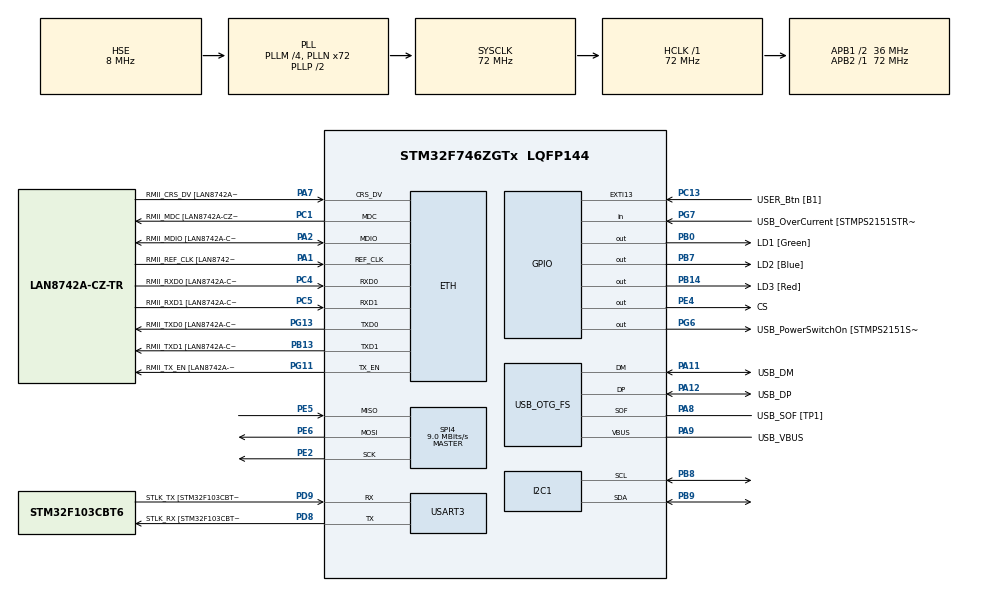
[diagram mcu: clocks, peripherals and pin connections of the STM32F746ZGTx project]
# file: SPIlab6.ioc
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ETH.MediaInterface=HAL_ETH_RMII_MODE
ETH.PHY_Name=LAN8742A_PHY_ADDRESS
ETH.PHY_Value=0
ETH.PhyAddress=0
I2C1.Timing=0x00808CD2
Mcu.Family=STM32F7
Mcu.Name=STM32F746ZGTx
Mcu.Package=LQFP144
NVIC.PriorityGroup=NVIC_PRIORITYGROUP_4
NVIC.SPI4_IRQn=true\:0\:0\:false\:false\:true\:true\:true\:true
PA1.GPIO_Label=RMII_REF_CLK [LAN8742A-CZ-TR_REFCLK0]
PA1.Mode=RMII
PA1.Signal=ETH_REF_CLK
PA10.GPIO_Label=USB_ID
PA10.Signal=USB_OTG_FS_ID
PA11.GPIO_Label=USB_DM
PA11.Mode=Device_Only
PA11.Signal=USB_OTG_FS_DM
PA12.GPIO_Label=USB_DP
PA12.Mode=Device_Only
PA12.Signal=USB_OTG_FS_DP
PA13.GPIO_Label=TMS
PA13.Mode=Serial_Wire
PA13.Signal=SYS_JTMS-SWDIO
PA14.GPIO_Label=TCK
PA14.Mode=Serial_Wire
PA14.Signal=SYS_JTCK-SWCLK
PA2.GPIO_Label=RMII_MDIO [LAN8742A-CZ-TR_MDIO]
PA2.Mode=RMII
PA2.Signal=ETH_MDIO
PA7.GPIO_Label=RMII_CRS_DV [LAN8742A-CZ-TR_CRS_DV]
PA7.Mode=RMII
PA7.Signal=ETH_CRS_DV
PA8.GPIO_Label=USB_SOF [TP1]
PA8.Mode=Activate_SOF_FS
PA8.Signal=USB_OTG_FS_SOF
PA9.GPIO_Label=USB_VBUS
PA9.Mode=Activate_VBUS
PA9.Signal=USB_OTG_FS_VBUS
PB0.GPIO_Label=LD1 [Green]
PB0.Signal=GPIO_Output
PB13.GPIO_Label=RMII_TXD1 [LAN8742A-CZ-TR_TXD1]
PB13.Mode=RMII
PB13.Signal=ETH_TXD1
PB14.GPIO_Label=LD3 [Red]
PB14.Signal=GPIO_Output
PB3.GPIO_Label=SW0
PB3.Signal=SYS_JTDO-SWO
PB7.GPIO_Label=LD2 [Blue]
PB7.Signal=GPIO_Output
PB8.Mode=I2C
PB8.Signal=I2C1_SCL
PB9.Mode=I2C
PB9.Signal=I2C1_SDA
PC1.GPIO_Label=RMII_MDC [LAN8742A-CZ-TR_MDC]
PC1.Mode=RMII
PC1.Signal=ETH_MDC
PC13.GPIO_Label=USER_Btn [B1]
PC13.Signal=GPXTI13
PC14/OSC32_IN.Mode=LSE-External-Oscillator
PC14/OSC32_IN.Signal=RCC_OSC32_IN
PC15/OSC32_OUT.Mode=LSE-External-Oscillator
PC15/OSC32_OUT.Signal=RCC_OSC32_OUT
PC4.GPIO_Label=RMII_RXD0 [LAN8742A-CZ-TR_RXD0]
PC4.Mode=RMII
PC4.Signal=ETH_RXD0
PC5.GPIO_Label=RMII_RXD1 [LAN8742A-CZ-TR_RXD1]
PC5.Mode=RMII
PC5.Signal=ETH_RXD1
PD8.GPIO_Label=STLK_RX [STM32F103CBT6_PA3]
PD8.GPIO_PuPd=GPIO_PULLUP
PD8.Mode=Asynchronous
PD8.Signal=USART3_TX
PD9.GPIO_Label=STLK_TX [STM32F103CBT6_PA2]
PD9.GPIO_PuPd=GPIO_PULLUP
PD9.Mode=Asynchronous
PD9.Signal=USART3_RX
PE2.Mode=Full_Duplex_Master
PE2.Signal=SPI4_SCK
PE4.GPIO_Label=CS
PE4.Signal=GPIO_Output
PE5.Mode=Full_Duplex_Master
PE5.Signal=SPI4_MISO
PE6.Mode=Full_Duplex_Master
PE6.Signal=SPI4_MOSI
PG11.GPIO_Label=RMII_TX_EN [LAN8742A-CZ-TR_TXEN]
PG11.Mode=RMII
PG11.Signal=ETH_TX_EN
PG13.GPIO_Label=RMII_TXD0 [LAN8742A-CZ-TR_TXD0]
PG13.Mode=RMII
PG13.Signal=ETH_TXD0
PG6.GPIO_Label=USB_PowerSwitchOn [STMPS2151STR_EN]
PG6.Signal=GPIO_Output
PG7.GPIO_Label=USB_OverCurrent [STMPS2151STR_FAULT]
PG7.Signal=GPIO_Input
PH0/OSC_IN.GPIO_Label=MCO [STM32F103CBT6_PA8]
PH0/OSC_IN.Mode=HSE-External-Clock-Source
PH0/OSC_IN.Signal=RCC_OSC_IN
PH1/OSC_OUT.Mode=HSE-External-Clock-Source
PH1/OSC_OUT.Signal=RCC_OSC_OUT
ProjectManager.HeapSize=0x200
ProjectManager.StackSize=0x400
ProjectManager.TargetToolchain=STM32CubeIDE
RCC.48MHZClocksFreq_Value=24000000
RCC.AHBFreq_Value=72000000
RCC.APB1CLKDivider=RCC_HCLK_DIV2
RCC.APB1Freq_Value=36000000
RCC.APB1TimFreq_Value=72000000
RCC.APB2Freq_Value=72000000
RCC.APB2TimFreq_Value=72000000
RCC.CortexFreq_Value=72000000
RCC.HCLKFreq_Value=72000000
RCC.HSE_VALUE=8000000
RCC.HSI_VALUE=16000000
RCC.PLLM=4
RCC.PLLMUL=RCC_PLL_MUL9
RCC.PLLN=72
RCC.PLLQ=3
RCC.PRESCALERUSB=RCC_USBCLKSOURCE_PLL_DIV1_5
RCC.SYSCLKFreq_VALUE=72000000
RCC.SYSCLKSource=RCC_SYSCLKSOURCE_PLLCLK
RCC.SYSCLKSourceVirtual=RCC_SYSCLKSOURCE_PLLCLK
RCC.USBFreq_Value=48000000
RCC.VCOOutputFreq_Value=144000000
SPI4.BaudRatePrescaler=SPI_BAUDRATEPRESCALER_8
SPI4.CLKPhase=SPI_PHASE_2EDGE
SPI4.CLKPolarity=SPI_POLARITY_HIGH
SPI4.CalculateBaudRate=9.0 MBits/s
SPI4.DataSize=SPI_DATASIZE_8BIT
SPI4.Direction=SPI_DIRECTION_2LINES
SPI4.Mode=SPI_MODE_MASTER
SPI4.VirtualType=VM_MASTER
USART3.VirtualMode-Asynchronous=VM_ASYNC
USB_OTG_FS.VirtualMode=Device_Only
board=NUCLEO-F746ZG

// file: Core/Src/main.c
/* USER CODE BEGIN Header */
/**
  ******************************************************************************
  * @file           : main.c
  * @brief          : Main program body
  ******************************************************************************
  * @attention
  *
  * Copyright (c) 2025 STMicroelectronics.
  * All rights reserved.
  *
  * This software is licensed under terms that can be found in the LICENSE file
  * in the root directory of this software component.
  * If no LICENSE file comes with this software, it is provided AS-IS.
  *
  ******************************************************************************
  */
/* USER CODE END Header */
#include "main.h"
#include "eth.h"
#include "i2c.h"
#include "spi.h"
#include "usart.h"
#include "usb_otg.h"
#include "gpio.h"

/* USER CODE BEGIN Includes */
#include <string.h>
#include <stdio.h>

/* USER CODE END Includes */

/* USER CODE BEGIN PD */
#define BMP2_SPI_BUFFER_LEN 28 //! @see BMP280 technical note p. 24 //do sensora z instrukcji lab
#define BMP2_DATA_INDEX 1 //! @see BMP280 technical note p. 31-32
#define BMP2_REG_ADDR_INDEX 0 //! @see BMP280 technical note p. 31-32
#define BMP2_REG_ADDR_LEN 1 //! @see BMP280 technical note p. 31-32 //do sensora z instrukcji lab

#define BMP_CS_PORT CS_GPIO_Port //do pinu cs
#define BMP_CS_PIN  CS_Pin

#define CS_LOW()  HAL_GPIO_WritePin(BMP_CS_PORT, BMP_CS_PIN, GPIO_PIN_RESET)
#define CS_HIGH() HAL_GPIO_WritePin(BMP_CS_PORT, BMP_CS_PIN, GPIO_PIN_SET) //do pinu cs

#define BMP2_INTF_RET_TYPE int8_t//dofcji z pomocą czatu gpt
#define BMP2_INTF_RET_SUCCESS 0
#define BMP2_SPI &hspi4
#define BMP2_TIMEOUT 100
#define BMP2_NUM_OF_SENSORS 1

/* USER CODE END PD */

/* USER CODE BEGIN PV */
uint8_t cs_index = 0;//do fcji z instrukcji bmp2_spi_read/write
int32_t t_fine; //z fcji czujnika

uint16_t dig_T1;   // bezznakowy
int16_t  dig_T2;   // ze znakiem
int16_t  dig_T3;   // ze znakiem

/* USER CODE END PV */

void SystemClock_Config(void);
/* USER CODE BEGIN PFP */

// Returns temperature in DegC, resolution is 0.01 DegC. Output value of “5123” equals 51.23 DegC.  //z dokumentacji czujnika
// t_fine carries fine temperature as global value

int32_t bmp280_compensate_T(int32_t adc_T)
{
    int32_t var1, var2, T;

    var1 = ((((adc_T >> 3) - ((int32_t)dig_T1 << 1))) * ((int32_t)dig_T2)) >> 11;
    var2 = (((((adc_T >> 4) - ((int32_t)dig_T1)) * ((adc_T >> 4) - ((int32_t)dig_T1))) >> 12) *
            ((int32_t)dig_T3)) >> 14;

    t_fine = var1 + var2;

    T = (t_fine * 5 + 128) >> 8;   // wynik w 0.01°C
    return T;
}

/*!
 * @brief Function for reading the sensor's registers through SPI bus.
 *
 * @param[in] reg_addr : Register address.
 * @param[out] reg_data : Pointer to the data buffer to store the read data.
 * @param[in] length : No of bytes to read.
 * @param[in] intf_ptr : Interface pointer
 *
 * @return Status of execution
 *
 * @retval BMP2_INTF_RET_SUCCESS-> Success.
 * @retval != BMP2_INTF_RET_SUCCESS-> Failure.
 *
 */
BMP2_INTF_RET_TYPE bmp2_spi_read(uint8_t reg_addr, uint8_t *reg_data, uint32_t length, void *intf_ptr)
{
    /* Implement the SPI read routine according to the target machine. */
    HAL_StatusTypeDef status = HAL_OK;
    int8_t iError = BMP2_INTF_RET_SUCCESS;
    uint8_t cs = *(uint8_t*)intf_ptr;

    /* Software slave selection procedure */
    HAL_GPIO_WritePin(BMP_CS_PORT, BMP_CS_PIN, GPIO_PIN_RESET);

    /* Data exchange */
    status = HAL_SPI_Transmit(BMP2_SPI, &reg_addr, BMP2_REG_ADDR_LEN, BMP2_TIMEOUT);
    status += HAL_SPI_Receive(BMP2_SPI, reg_data, length, BMP2_TIMEOUT);

    /* Disable all slaves */
    for(uint8_t i = 0; i < BMP2_NUM_OF_SENSORS; i++)
        HAL_GPIO_WritePin(BMP_CS_PORT, BMP_CS_PIN, GPIO_PIN_SET);

#ifdef DEBUG
    uint8_t data[BMP2_SPI_BUFFER_LEN] = {0,};
    memcpy(data, reg_data, length);
#endif

    // The BMP2xx API calls for 0 return value as a success, and -1 returned as failure
    if (status != HAL_OK)
        iError = -1;

    return iError;
}

/*!
 * @brief Function for writing the sensor's registers through SPI bus.
 *
 * @param[in] reg_addr : Register address.
 * @param[in] reg_data : Pointer to the data buffer whose data has to be written.
 * @param[in] length : No of bytes to write.
 * @param[in] intf_ptr : Interface pointer
 *
 * @return Status of execution
 *
 * @retval BMP2_INTF_RET_SUCCESS-> Success.
 * @retval != BMP2_INTF_RET_SUCCESS-> Failure.
 *
 */
BMP2_INTF_RET_TYPE bmp2_spi_write(uint8_t reg_addr, const uint8_t *reg_data, uint32_t length, void *intf_ptr)
{
    /* Implement the SPI write routine according to the target machine. */
    HAL_StatusTypeDef status = HAL_OK;
    int8_t iError = BMP2_INTF_RET_SUCCESS;
    uint8_t cs = *(uint8_t*)intf_ptr;

#ifdef DEBUG
    uint8_t data[BMP2_SPI_BUFFER_LEN] = {0,};
    memcpy(data, reg_data, length);
#endif

    /* Software slave selection procedure */
    HAL_GPIO_WritePin(BMP_CS_PORT, BMP_CS_PIN, GPIO_PIN_RESET);

    /* Data exchange */
    status = HAL_SPI_Transmit(BMP2_SPI, &reg_addr, BMP2_REG_ADDR_LEN, BMP2_TIMEOUT);
    status += HAL_SPI_Transmit(BMP2_SPI, reg_data, length, BMP2_TIMEOUT);

    /* Disable all slaves */
    for(uint8_t i = 0; i < BMP2_NUM_OF_SENSORS; i++)
        HAL_GPIO_WritePin(BMP_CS_PORT, BMP_CS_PIN, GPIO_PIN_SET);

    // The BMP2xx API calls for 0 return value as a success, and -1 returned as failure
    if (status != HAL_OK)
        iError = -1;

    return iError;
}

/* USER CODE END PFP */

int main(void)
{

  /* MCU Configuration--------------------------------------------------------*/

  /* Reset of all peripherals, Initializes the Flash interface and the Systick. */
  HAL_Init();

  /* Configure the system clock */
  SystemClock_Config();

  /* Initialize all configured peripherals */
  MX_GPIO_Init();
  MX_ETH_Init();
  MX_I2C1_Init();
  MX_USART3_UART_Init();
  MX_USB_OTG_FS_PCD_Init();
  MX_SPI4_Init();
  /* USER CODE BEGIN 2 */
  uint8_t calib_data[6];
  bmp2_spi_read(0x88, calib_data, 6, &cs_index);

  dig_T1 = (uint16_t)(calib_data[1] << 8 | calib_data[0]);
  dig_T2 = (int16_t)(calib_data[3] << 8 | calib_data[2]);
  dig_T3 = (int16_t)(calib_data[5] << 8 | calib_data[4]);

  char msg2[64];
  snprintf(msg2, sizeof(msg2), "T1=%u  T2=%d  T3=%d\r\n", dig_T1, dig_T2, dig_T3);
  HAL_UART_Transmit(&huart3, (uint8_t*)msg2, strlen(msg2), HAL_MAX_DELAY);

  uint8_t ctrl_meas = 0x27; // np. normal mode, temp oversampling x1
  bmp2_spi_write(0xF4, &ctrl_meas, 1, &cs_index);

  uint8_t temp_data[3];
  /* USER CODE END 2 */

  /* Infinite loop */
  while (1)
  {

    /* USER CODE BEGIN 3 */
	    // Odczyt 3 bajtów temperatury z rejestrów 0xFA, 0xFB, 0xFC
	    bmp2_spi_read(0xFA, temp_data, 3, &cs_index);

	    // Sklejanie bajtów w 20-bitową wartość adc_T
	    int32_t adc_T = ((int32_t)temp_data[0] << 12) |
	                    ((int32_t)temp_data[1] << 4) |
	                    ((temp_data[2] >> 4) & 0x0F);

	    // Obliczenie temperatury w setnych stopniach C (0.01°C)
	    int32_t T = bmp280_compensate_T(adc_T);

	    // Konwersja na float w °C i zapis do bufora ASCII
	    char msg[32];
	    //snprintf(msg, sizeof(msg), "Temp: %.2f C\r\n", T / 100.0f);

	    // Wysłanie przez UART3
	    HAL_UART_Transmit(&huart3, (uint8_t*)msg, strlen(msg), HAL_MAX_DELAY);

	    // Opcjonalne opóźnienie 1 s
	    HAL_Delay(1000);
  }
  /* USER CODE END 3 */
}

void SystemClock_Config(void)
{
  RCC_OscInitTypeDef RCC_OscInitStruct = {0};
  RCC_ClkInitTypeDef RCC_ClkInitStruct = {0};

  /** Configure LSE Drive Capability
  */
  HAL_PWR_EnableBkUpAccess();

  /** Configure the main internal regulator output voltage
  */
  __HAL_RCC_PWR_CLK_ENABLE();
  __HAL_PWR_VOLTAGESCALING_CONFIG(PWR_REGULATOR_VOLTAGE_SCALE3);

  /** Initializes the RCC Oscillators according to the specified parameters
  * in the RCC_OscInitTypeDef structure.
  */
  RCC_OscInitStruct.OscillatorType = RCC_OSCILLATORTYPE_HSE;
  RCC_OscInitStruct.HSEState = RCC_HSE_BYPASS;
  RCC_OscInitStruct.PLL.PLLState = RCC_PLL_ON;
  RCC_OscInitStruct.PLL.PLLSource = RCC_PLLSOURCE_HSE;
  RCC_OscInitStruct.PLL.PLLM = 4;
  RCC_OscInitStruct.PLL.PLLN = 72;
  RCC_OscInitStruct.PLL.PLLP = RCC_PLLP_DIV2;
  RCC_OscInitStruct.PLL.PLLQ = 3;
  if (HAL_RCC_OscConfig(&RCC_OscInitStruct) != HAL_OK)
  {
    Error_Handler();
  }

  /** Initializes the CPU, AHB and APB buses clocks
  */
  RCC_ClkInitStruct.ClockType = RCC_CLOCKTYPE_HCLK|RCC_CLOCKTYPE_SYSCLK
                              |RCC_CLOCKTYPE_PCLK1|RCC_CLOCKTYPE_PCLK2;
  RCC_ClkInitStruct.SYSCLKSource = RCC_SYSCLKSOURCE_PLLCLK;
  RCC_ClkInitStruct.AHBCLKDivider = RCC_SYSCLK_DIV1;
  RCC_ClkInitStruct.APB1CLKDivider = RCC_HCLK_DIV2;
  RCC_ClkInitStruct.APB2CLKDivider = RCC_HCLK_DIV1;

  if (HAL_RCC_ClockConfig(&RCC_ClkInitStruct, FLASH_LATENCY_2) != HAL_OK)
  {
    Error_Handler();
  }
}

void Error_Handler(void)
{
  __disable_irq();
  while (1)
  {
  }
}
